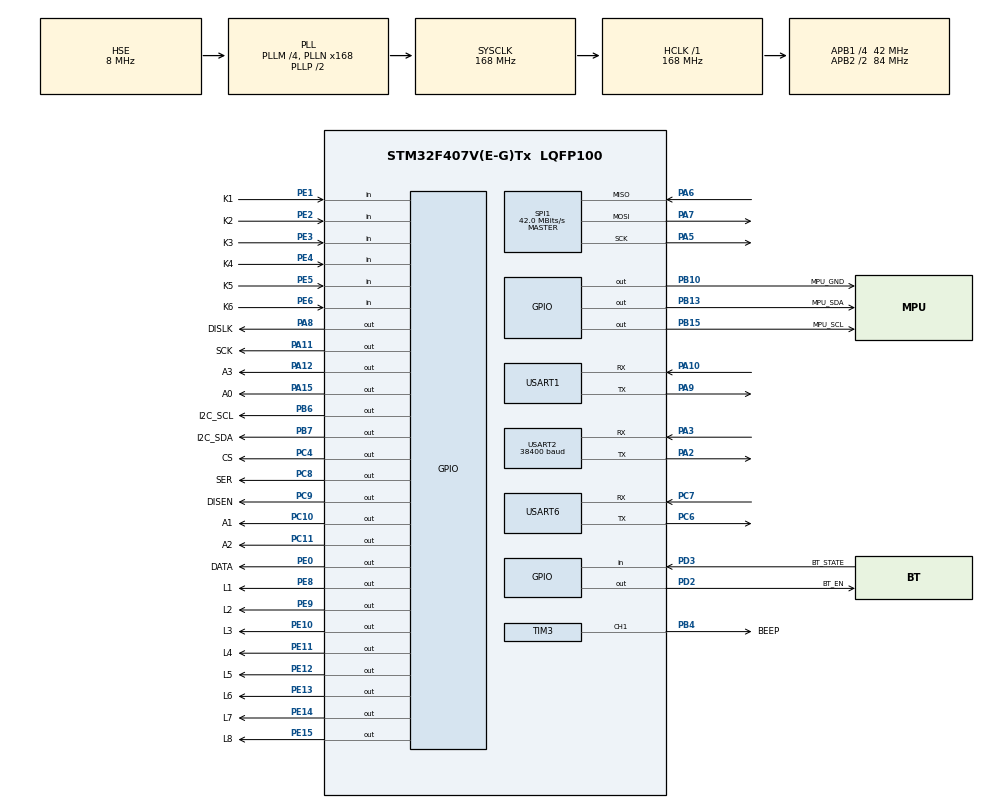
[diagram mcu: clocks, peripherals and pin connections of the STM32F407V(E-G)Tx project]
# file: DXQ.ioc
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Dma.Request0=USART2_RX
Dma.Request1=USART6_RX
Dma.Request2=USART1_RX
Dma.USART1_RX.2.Direction=DMA_PERIPH_TO_MEMORY
Dma.USART1_RX.2.FIFOMode=DMA_FIFOMODE_DISABLE
Dma.USART1_RX.2.Instance=DMA2_Stream2
Dma.USART1_RX.2.MemDataAlignment=DMA_MDATAALIGN_BYTE
Dma.USART1_RX.2.MemInc=DMA_MINC_ENABLE
Dma.USART1_RX.2.Mode=DMA_NORMAL
Dma.USART1_RX.2.PeriphDataAlignment=DMA_PDATAALIGN_BYTE
Dma.USART1_RX.2.PeriphInc=DMA_PINC_DISABLE
Dma.USART1_RX.2.Priority=DMA_PRIORITY_LOW
Dma.USART2_RX.0.Direction=DMA_PERIPH_TO_MEMORY
Dma.USART2_RX.0.FIFOMode=DMA_FIFOMODE_DISABLE
Dma.USART2_RX.0.Instance=DMA1_Stream5
Dma.USART2_RX.0.MemDataAlignment=DMA_MDATAALIGN_BYTE
Dma.USART2_RX.0.MemInc=DMA_MINC_ENABLE
Dma.USART2_RX.0.Mode=DMA_NORMAL
Dma.USART2_RX.0.PeriphDataAlignment=DMA_PDATAALIGN_BYTE
Dma.USART2_RX.0.PeriphInc=DMA_PINC_DISABLE
Dma.USART2_RX.0.Priority=DMA_PRIORITY_LOW
Dma.USART6_RX.1.Direction=DMA_PERIPH_TO_MEMORY
Dma.USART6_RX.1.FIFOMode=DMA_FIFOMODE_DISABLE
Dma.USART6_RX.1.Instance=DMA2_Stream1
Dma.USART6_RX.1.MemDataAlignment=DMA_MDATAALIGN_BYTE
Dma.USART6_RX.1.MemInc=DMA_MINC_ENABLE
Dma.USART6_RX.1.Mode=DMA_NORMAL
Dma.USART6_RX.1.PeriphDataAlignment=DMA_PDATAALIGN_BYTE
Dma.USART6_RX.1.PeriphInc=DMA_PINC_DISABLE
Dma.USART6_RX.1.Priority=DMA_PRIORITY_LOW
FREERTOS.Tasks01=MainTask,24,512,StartMainTask,Default,NULL,Dynamic,NULL,NULL;KeyTask,24,512,StartKeyTask,Default,NULL,Dynamic,NULL,NULL;UartTask,24,1024,StartUartTask,Default,NULL,Dynamic,NULL,NULL;GUITask,24,1024,StartGUITask,Default,NULL,Dynamic,NULL,NULL;DataTask,24,1024,StartDataTask,Default,NULL,Dynamic,NULL,NULL
FREERTOS.configTOTAL_HEAP_SIZE=30000
Mcu.Family=STM32F4
Mcu.Name=STM32F407V(E-G)Tx
Mcu.Package=LQFP100
NVIC.DMA1_Stream5_IRQn=true\:5\:0\:false\:false\:true\:true\:false\:true
NVIC.DMA2_Stream1_IRQn=true\:5\:0\:false\:false\:true\:true\:false\:true
NVIC.DMA2_Stream2_IRQn=true\:5\:0\:false\:false\:true\:true\:false\:true
NVIC.PriorityGroup=NVIC_PRIORITYGROUP_4
NVIC.TIM7_IRQn=true\:0\:0\:false\:false\:true\:false\:false\:true
NVIC.TimeBase=TIM7_IRQn
NVIC.TimeBaseIP=TIM7
NVIC.USART1_IRQn=true\:5\:0\:false\:false\:true\:false\:true\:true
NVIC.USART2_IRQn=true\:5\:0\:false\:false\:true\:true\:true\:true
NVIC.USART6_IRQn=true\:5\:0\:false\:false\:true\:true\:true\:true
PA10.Mode=Asynchronous
PA10.Signal=USART1_RX
PA11.GPIO_Label=SCK
PA11.Signal=GPIO_Output
PA12.GPIO_Label=A3
PA12.Signal=GPIO_Output
PA13.Mode=Serial_Wire
PA13.Signal=SYS_JTMS-SWDIO
PA14.Mode=Serial_Wire
PA14.Signal=SYS_JTCK-SWCLK
PA15.GPIO_Label=A0
PA15.Signal=GPIO_Output
PA2.Mode=Asynchronous
PA2.Signal=USART2_TX
PA3.Mode=Asynchronous
PA3.Signal=USART2_RX
PA5.Mode=Full_Duplex_Master
PA5.Signal=SPI1_SCK
PA6.Mode=Full_Duplex_Master
PA6.Signal=SPI1_MISO
PA7.Mode=Full_Duplex_Master
PA7.Signal=SPI1_MOSI
PA8.GPIO_Label=DISLK
PA8.Signal=GPIO_Output
PA9.Mode=Asynchronous
PA9.Signal=USART1_TX
PB10.GPIO_Label=MPU_GND
PB10.Signal=GPIO_Output
PB13.GPIO_Label=MPU_SDA
PB13.GPIO_ModeDefaultOutputPP=GPIO_MODE_OUTPUT_OD
PB13.Signal=GPIO_Output
PB15.GPIO_Label=MPU_SCL
PB15.GPIO_ModeDefaultOutputPP=GPIO_MODE_OUTPUT_OD
PB15.Signal=GPIO_Output
PB4.GPIO_Label=BEEP
PB4.Signal=S_TIM3_CH1
PB6.GPIO_Label=I2C_SCL
PB6.GPIO_ModeDefaultOutputPP=GPIO_MODE_OUTPUT_OD
PB6.Signal=GPIO_Output
PB7.GPIO_Label=I2C_SDA
PB7.GPIO_ModeDefaultOutputPP=GPIO_MODE_OUTPUT_OD
PB7.Signal=GPIO_Output
PC10.GPIO_Label=A1
PC10.Signal=GPIO_Output
PC11.GPIO_Label=A2
PC11.Signal=GPIO_Output
PC4.GPIO_Label=CS
PC4.Signal=GPIO_Output
PC6.Mode=Asynchronous
PC6.Signal=USART6_TX
PC7.Mode=Asynchronous
PC7.Signal=USART6_RX
PC8.GPIO_Label=SER
PC8.Signal=GPIO_Output
PC9.GPIO_Label=DISEN
PC9.Signal=GPIO_Output
PD2.GPIO_Label=BT_EN
PD2.Signal=GPIO_Output
PD3.GPIO_Label=BT_STATE
PD3.Signal=GPIO_Input
PE0.GPIO_Label=DATA
PE0.Signal=GPIO_Output
PE1.GPIO_Label=K1
PE1.GPIO_Mode=GPIO_MODE_INPUT
PE1.GPIO_PuPd=GPIO_PULLUP
PE1.Signal=GPIO_Input
PE10.GPIO_Label=L3
PE10.GPIO_ModeDefaultOutputPP=GPIO_MODE_OUTPUT_PP
PE10.PinState=GPIO_PIN_SET
PE10.Signal=GPIO_Output
PE11.GPIO_Label=L4
PE11.GPIO_ModeDefaultOutputPP=GPIO_MODE_OUTPUT_PP
PE11.PinState=GPIO_PIN_SET
PE11.Signal=GPIO_Output
PE12.GPIO_Label=L5
PE12.GPIO_ModeDefaultOutputPP=GPIO_MODE_OUTPUT_PP
PE12.PinState=GPIO_PIN_SET
PE12.Signal=GPIO_Output
PE13.GPIO_Label=L6
PE13.GPIO_ModeDefaultOutputPP=GPIO_MODE_OUTPUT_PP
PE13.PinState=GPIO_PIN_SET
PE13.Signal=GPIO_Output
PE14.GPIO_Label=L7
PE14.GPIO_ModeDefaultOutputPP=GPIO_MODE_OUTPUT_PP
PE14.PinState=GPIO_PIN_SET
PE14.Signal=GPIO_Output
PE15.GPIO_Label=L8
PE15.GPIO_ModeDefaultOutputPP=GPIO_MODE_OUTPUT_PP
PE15.PinState=GPIO_PIN_SET
PE15.Signal=GPIO_Output
PE2.GPIO_Label=K2
PE2.GPIO_Mode=GPIO_MODE_INPUT
PE2.GPIO_PuPd=GPIO_PULLUP
PE2.Signal=GPIO_Input
PE3.GPIO_Label=K3
PE3.GPIO_Mode=GPIO_MODE_INPUT
PE3.GPIO_PuPd=GPIO_PULLUP
PE3.Signal=GPIO_Input
PE4.GPIO_Label=K4
PE4.GPIO_Mode=GPIO_MODE_INPUT
PE4.GPIO_PuPd=GPIO_PULLUP
PE4.Signal=GPIO_Input
PE5.GPIO_Label=K5
PE5.GPIO_Mode=GPIO_MODE_INPUT
PE5.GPIO_PuPd=GPIO_PULLDOWN
PE5.Signal=GPIO_Input
PE6.GPIO_Label=K6
PE6.GPIO_Mode=GPIO_MODE_INPUT
PE6.GPIO_PuPd=GPIO_PULLDOWN
PE6.Signal=GPIO_Input
PE8.GPIO_Label=L1
PE8.GPIO_ModeDefaultOutputPP=GPIO_MODE_OUTPUT_PP
PE8.PinState=GPIO_PIN_SET
PE8.Signal=GPIO_Output
PE9.GPIO_Label=L2
PE9.GPIO_ModeDefaultOutputPP=GPIO_MODE_OUTPUT_PP
PE9.PinState=GPIO_PIN_SET
PE9.Signal=GPIO_Output
PH0-OSC_IN.Mode=HSE-External-Oscillator
PH0-OSC_IN.Signal=RCC_OSC_IN
PH1-OSC_OUT.Mode=HSE-External-Oscillator
PH1-OSC_OUT.Signal=RCC_OSC_OUT
ProjectManager.HeapSize=0x4000
ProjectManager.StackSize=0x4000
ProjectManager.TargetToolchain=MDK-ARM V5.27
RCC.48MHZClocksFreq_Value=84000000
RCC.AHBFreq_Value=168000000
RCC.APB1CLKDivider=RCC_HCLK_DIV4
RCC.APB1Freq_Value=42000000
RCC.APB1TimFreq_Value=84000000
RCC.APB2CLKDivider=RCC_HCLK_DIV2
RCC.APB2Freq_Value=84000000
RCC.APB2TimFreq_Value=168000000
RCC.CortexFreq_Value=168000000
RCC.HCLKFreq_Value=168000000
RCC.HSE_VALUE=8000000
RCC.HSI_VALUE=16000000
RCC.LSE_VALUE=32768
RCC.PLLM=4
RCC.PLLN=168
RCC.PLLSourceVirtual=RCC_PLLSOURCE_HSE
RCC.SYSCLKFreq_VALUE=168000000
RCC.SYSCLKSource=RCC_SYSCLKSOURCE_PLLCLK
RCC.VCOOutputFreq_Value=336000000
SH.S_TIM3_CH1.0=TIM3_CH1,PWM Generation1 CH1
SPI1.CalculateBaudRate=42.0 MBits/s
SPI1.Direction=SPI_DIRECTION_2LINES
SPI1.Mode=SPI_MODE_MASTER
SPI1.VirtualType=VM_MASTER
TIM3.Channel-PWM\ Generation1\ CH1=TIM_CHANNEL_1
TIM3.Period=1000-1
TIM3.Prescaler=84-1
TIM3.Pulse-PWM\ Generation1\ CH1=500
USART1.VirtualMode=VM_ASYNC
USART2.BaudRate=38400
USART2.VirtualMode=VM_ASYNC
USART6.VirtualMode=VM_ASYNC
VP_FREERTOS_VS_CMSIS_V2.Mode=CMSIS_V2
VP_SYS_VS_tim7.Mode=TIM7
VP_TIM3_VS_ClockSourceINT.Mode=Internal
board=custom

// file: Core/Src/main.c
/* USER CODE BEGIN Header */
/**
  ******************************************************************************
  * @file           : main.c
  * @brief          : Main program body
  ******************************************************************************
  * @attention
  *
  * <h2><center>&copy; Copyright (c) 2021 STMicroelectronics.
  * All rights reserved.</center></h2>
  *
  * This software component is licensed by ST under Ultimate Liberty license
  * SLA0044, the "License"; You may not use this file except in compliance with
  * the License. You may obtain a copy of the License at:
  *                             www.st.com/SLA0044
  *
  ******************************************************************************
  */
/* USER CODE END Header */
#include "main.h"
#include "cmsis_os.h"
#include "dma.h"
#include "spi.h"
#include "tim.h"
#include "usart.h"
#include "gpio.h"

void SystemClock_Config(void);
void MX_FREERTOS_Init(void);

int main(void)
{

  /* MCU Configuration--------------------------------------------------------*/

  /* Reset of all peripherals, Initializes the Flash interface and the Systick. */
  HAL_Init();

  /* Configure the system clock */
  SystemClock_Config();

  /* Initialize all configured peripherals */
  MX_GPIO_Init();
  MX_DMA_Init();
  MX_USART1_UART_Init();
  MX_TIM3_Init();
  MX_USART2_UART_Init();
  MX_USART6_UART_Init();
  MX_SPI1_Init();

  /* Init scheduler */
  osKernelInitialize();  /* Call init function for freertos objects (in freertos.c) */
  MX_FREERTOS_Init();
  /* Start scheduler */
  osKernelStart();

  /* We should never get here as control is now taken by the scheduler */
  /* Infinite loop */
  while (1)
  {

  }
}

void SystemClock_Config(void)
{
  RCC_OscInitTypeDef RCC_OscInitStruct = {0};
  RCC_ClkInitTypeDef RCC_ClkInitStruct = {0};

  /** Configure the main internal regulator output voltage
  */
  __HAL_RCC_PWR_CLK_ENABLE();
  __HAL_PWR_VOLTAGESCALING_CONFIG(PWR_REGULATOR_VOLTAGE_SCALE1);
  /** Initializes the RCC Oscillators according to the specified parameters
  * in the RCC_OscInitTypeDef structure.
  */
  RCC_OscInitStruct.OscillatorType = RCC_OSCILLATORTYPE_HSE;
  RCC_OscInitStruct.HSEState = RCC_HSE_ON;
  RCC_OscInitStruct.PLL.PLLState = RCC_PLL_ON;
  RCC_OscInitStruct.PLL.PLLSource = RCC_PLLSOURCE_HSE;
  RCC_OscInitStruct.PLL.PLLM = 4;
  RCC_OscInitStruct.PLL.PLLN = 168;
  RCC_OscInitStruct.PLL.PLLP = RCC_PLLP_DIV2;
  RCC_OscInitStruct.PLL.PLLQ = 4;
  if (HAL_RCC_OscConfig(&RCC_OscInitStruct) != HAL_OK)
  {
    Error_Handler();
  }
  /** Initializes the CPU, AHB and APB buses clocks
  */
  RCC_ClkInitStruct.ClockType = RCC_CLOCKTYPE_HCLK|RCC_CLOCKTYPE_SYSCLK
                              |RCC_CLOCKTYPE_PCLK1|RCC_CLOCKTYPE_PCLK2;
  RCC_ClkInitStruct.SYSCLKSource = RCC_SYSCLKSOURCE_PLLCLK;
  RCC_ClkInitStruct.AHBCLKDivider = RCC_SYSCLK_DIV1;
  RCC_ClkInitStruct.APB1CLKDivider = RCC_HCLK_DIV4;
  RCC_ClkInitStruct.APB2CLKDivider = RCC_HCLK_DIV2;

  if (HAL_RCC_ClockConfig(&RCC_ClkInitStruct, FLASH_LATENCY_5) != HAL_OK)
  {
    Error_Handler();
  }
}

 /**
  * @brief  Period elapsed callback in non blocking mode
  * @note   This function is called  when TIM7 interrupt took place, inside
  * HAL_TIM_IRQHandler(). It makes a direct call to HAL_IncTick() to increment
  * a global variable "uwTick" used as application time base.
  * @param  htim : TIM handle
  * @retval None
  */
void HAL_TIM_PeriodElapsedCallback(TIM_HandleTypeDef *htim)
{
  if (htim->Instance == TIM7) {
    HAL_IncTick();
  }
}

void Error_Handler(void)
{
}

/************************ (C) COPYRIGHT STMicroelectronics *****END OF FILE****/

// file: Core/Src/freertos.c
/* USER CODE BEGIN Header */
/**
  ******************************************************************************
  * File Name          : freertos.c
  * Description        : Code for freertos applications
  ******************************************************************************
  * @attention
  *
  * <h2><center>&copy; Copyright (c) 2021 STMicroelectronics.
  * All rights reserved.</center></h2>
  *
  * This software component is licensed by ST under Ultimate Liberty license
  * SLA0044, the "License"; You may not use this file except in compliance with
  * the License. You may obtain a copy of the License at:
  *                             www.st.com/SLA0044
  *
  ******************************************************************************
  */
/* USER CODE END Header */

#include "FreeRTOS.h"
#include "task.h"
#include "main.h"
#include "cmsis_os.h"

/* USER CODE BEGIN Includes */
#include "gpio.h"
#include "GUI.h"
#include "tim.h"
#include "DS_18B20.h"
#include "MPU6050.h"
#include "Display_3D.h"
#include "comm.h"
#include "ESP01.h"
#include <stdio.h>
#include <string.h>
#include <stdlib.h>
#include "w25qxx.h"
/* USER CODE END Includes */

/* USER CODE BEGIN PD */
extern GUI_FLASH const GUI_FONT GUI_FontHZ_KaiTi_20;//外部声明
extern GUI_FLASH const GUI_FONT GUI_FontHZ_KaiTi_12;
extern GUI_FLASH const GUI_FONT GUI_FontHZ_KaiTi_16;
extern GUI_FLASH const GUI_FONT GUI_FontHZ_SimSun_12;
extern GUI_CONST_STORAGE GUI_BITMAP bmfcz;
extern GUI_CONST_STORAGE GUI_BITMAP bmlch;
/* USER CODE END PD */

/* USER CODE BEGIN Variables */
#define WS_LOGO 0
#define WS_GUI1 1
#define WS_GUI2 2
#define WS_GUI3 3
#define WS_GUI4 4   // 定义五个页面

#define SetADDR1 10 * 4096
#define SetADDR2 9 * 4096
#define SetADDR3 8 * 4096
#define SetADDR4 7 * 4096

int g_ws = WS_LOGO;
uint32_t intick = 0;

volatile float temp = 0; //温度值
float tempLmt = 32.0f;   //温度上限

uint32_t beeptick = 0;

uint8_t tempwarn = 0;//温度报警
uint8_t mpuwarn = 0;//震动报警
uint32_t warntick = 0;//报警时间戳
uint8_t warnright = 0;//报警状态
uint8_t g_mpustep = 0; //震动监测灵敏度
uint8_t g_warntime = 30;//报警时长
uint8_t g_paridx = 0; //参数索引

uint32_t keytime = 0;
uint8_t pageidx = 0;//界面内页面切换

uint16_t g_upstep = 1000; //上传时间间隔
uint8_t g_bUping = 0;

uint32_t scantime= 50;//扫描时间间隔

#define MAX_DATA_LEN 77
uint8_t g_fax_data[MAX_DATA_LEN];
uint8_t g_fay_data[MAX_DATA_LEN];
uint8_t g_faz_data[MAX_DATA_LEN];
uint8_t g_temp_data[MAX_DATA_LEN];

#define LINE_FAX 0
#define LINE_FAY 1
#define LINE_FAZ 2
#define LINE_TEMP 3
#define LINE_3D 4
uint8_t g_line_idx = LINE_FAX;

float vTemp[80];
int cTemp = 0;
float vPitch[80];
int cPitch = 0;
float vRoll[80];
int cRoll = 0;
float vYaw[80];
int cYaw = 0;

/* USER CODE END Variables */
/* Definitions for MainTask */
osThreadId_t MainTaskHandle;
const osThreadAttr_t MainTask_attributes = {
  .name = "MainTask",
  .stack_size = 512 * 4,
  .priority = (osPriority_t) osPriorityNormal,
};
/* Definitions for KeyTask */
osThreadId_t KeyTaskHandle;
const osThreadAttr_t KeyTask_attributes = {
  .name = "KeyTask",
  .stack_size = 512 * 4,
  .priority = (osPriority_t) osPriorityNormal,
};
/* Definitions for UartTask */
osThreadId_t UartTaskHandle;
const osThreadAttr_t UartTask_attributes = {
  .name = "UartTask",
  .stack_size = 1024 * 4,
  .priority = (osPriority_t) osPriorityNormal,
};
/* Definitions for GUITask */
osThreadId_t GUITaskHandle;
const osThreadAttr_t GUITask_attributes = {
  .name = "GUITask",
  .stack_size = 1024 * 4,
  .priority = (osPriority_t) osPriorityNormal,
};
/* Definitions for DataTask */
osThreadId_t DataTaskHandle;
const osThreadAttr_t DataTask_attributes = {
  .name = "DataTask",
  .stack_size = 1024 * 4,
  .priority = (osPriority_t) osPriorityNormal,
};

/* USER CODE BEGIN FunctionPrototypes */

void WSLogo(void);
void DrawLogo(void);
void DrawGUI1(void);
void DrawGUI2(void);
void DrawGUI3(void);
void DrawGUI4(void);

void Beep(int time,int tune);
void DispSeg(uint8_t num[4],uint8_t dot);
void BeepDone(void);
int KeyWatch(void);
void InitESP8266(void);

void SaveTempLmt(uint32_t addr,float saveval);
void SaveMpuStep(uint32_t addr,uint8_t saveval);
void SaveWarnTime(uint32_t addr,uint8_t saveval);
void SaveUpStep(uint32_t addr,uint16_t saveval);
float LoadTempLmt(uint32_t addr);
uint8_t LoadMpuStep(uint32_t addr);
uint8_t LoadWarnTime(uint32_t addr);
uint16_t LoadUpStep(uint32_t addr);

/* USER CODE END FunctionPrototypes */

void StartMainTask(void *argument);
void StartKeyTask(void *argument);
void StartUartTask(void *argument);
void StartGUITask(void *argument);
void StartDataTask(void *argument);

void MX_FREERTOS_Init(void); /* (MISRA C 2004 rule 8.1) */

void MX_FREERTOS_Init(void) {

  /* Create the thread(s) */
  /* creation of MainTask */
  MainTaskHandle = osThreadNew(StartMainTask, NULL, &MainTask_attributes);

  /* creation of KeyTask */
  KeyTaskHandle = osThreadNew(StartKeyTask, NULL, &KeyTask_attributes);

  /* creation of UartTask */
  UartTaskHandle = osThreadNew(StartUartTask, NULL, &UartTask_attributes);

  /* creation of GUITask */
  GUITaskHandle = osThreadNew(StartGUITask, NULL, &GUITask_attributes);

  /* creation of DataTask */
  DataTaskHandle = osThreadNew(StartDataTask, NULL, &DataTask_attributes);

}

void StartMainTask(void *argument)
{
  /* USER CODE BEGIN StartMainTask */
	uint8_t num[4] = {0};//数码管的四个数字
	W25QXX_Init();
	float val1 = LoadTempLmt(SetADDR1);
	uint8_t val2 = LoadMpuStep(SetADDR2);
	uint8_t val3 = LoadWarnTime(SetADDR3);
	uint16_t val4 = LoadUpStep(SetADDR4);
	if(val1 >= 0 && val1 <= 99)
		tempLmt = val1;
	if(val2 >= 0 && val2 <= 9)
		g_mpustep = val2;
	if(val3 >= 0 && val3 <= 60)
		g_warntime = val3;
	if(val4 >= 100 && val4 <= 10000)
		g_upstep = val4;
  /* Infinite loop */
  for(;;)
  {
		switch(g_ws)
		{
			case WS_LOGO:
				WSLogo();
			  break;
			default:
				SetLeds(0);
				break;
		}

		//报警功能
		if((tempwarn || mpuwarn) && g_warntime > 0)
		{
			warnright = 1;    //报警状态设1
			if(0 == warntick)     //计时开始
				warntick = osKernelGetTickCount();
			else if(osKernelGetTickCount() >= warntick + 1000 * g_warntime)     //30s后停止清零
			{
				tempwarn = mpuwarn = 0;
				warntick = 0;
				warnright = 0;
			}
			else         //报警动作
			{
				uint32_t tic = warntick + 1000 * g_warntime - osKernelGetTickCount();
				num[0] = (tic/10000)%10;
				num[1] = (tic/1000)%10;
				num[2] = (tic/100)%10;
				num[3] = (tic/10)%10;

        if(KeyWatch())   				//监测4个按键同时按下
			  {
				  if(0 == keytime)
						keytime = osKernelGetTickCount();
				  else if(osKernelGetTickCount() >= keytime + 3000)
				  {
						tempwarn = mpuwarn = 0;
				    warntick = 0;
				    warnright = 0;
			      num[0] = num[1] = num[2] = num[3] = ' ';
            keytime = 0;
            tempLmt = 40;
            g_mpustep = 0;
				  }
			  }
				//温度报警时
				if(tempwarn == 1)
				{
					  Beep(100,num[2]);
			  }
				//震动报警时
				else if(mpuwarn == 1)
				{
					Beep(100,num[3]%5);
				}
			}
		}
		else
			num[0] = num[1] = num[2] = num[3] = ' ';

		//num[0]=num[1]=num[2]=num[3]=1;//11.11
		DispSeg(num,2);//小数位两位
		BeepDone();

    osDelay(1);
  }
  /* USER CODE END StartMainTask */
}

void StartKeyTask(void *argument)
{
  /* USER CODE BEGIN StartKeyTask */
  /* Infinite loop */
  for(;;)
  {
		uint8_t key = ScanKey();
		if(key > 0)
			printf("%02x\n",key);

		switch(g_ws)
		{
			case WS_LOGO:
				if(KEY5 == key)
				{
					g_ws = WS_GUI1;
					intick = 0;
				}
				break;
			case WS_GUI1:
				if(!warnright)
				{
				if(KEY1 == key)
					g_ws = WS_GUI4;
				else if(KEY4 == key)
					g_ws = WS_GUI2;
				else if(KEY2 == key)
				{
					if(pageidx > 0)
						--pageidx;
				}
				else if(KEY3 == key)
				{
					if(pageidx < 2)
						++pageidx;
				}
				else if(KEY6 == key)
					  g_ws = WS_LOGO;
			  }
				break;
			case WS_GUI2:
				if(!warnright)
				{
					if(KEY1 == key)
						g_ws = WS_GUI1;
					else if(KEY4 == key)
					{
						g_ws = WS_GUI3;
						InitESP8266();
					}
					else if(KEY2 == key)
					{
						if(g_line_idx > LINE_FAX)
							--g_line_idx;
					}
					else if(KEY3 == key)
					{
						if(g_line_idx < LINE_3D)
							++g_line_idx;
					}
					else if(KEY5==key)
							{
								if(scantime==1000)
									scantime=50;
								else
									scantime=1000;
							}
					 else if(KEY6 == key)
						g_ws = WS_LOGO;
					break;
			 }
			case WS_GUI3:
				if(!warnright)
				{
					if(KEY1 == key)
						g_ws = WS_GUI2;
					else if(KEY2 == key)
						g_bUping = 1;
					else if(KEY3 == key)
					{
						g_bUping = 0;
					}
					else if(KEY4 == key)
						g_ws = WS_GUI4;
					else if(KEY5 == key && 0 == pageidx)
					{
						if(0 == pageidx)
						{
							InitESP8266();
						}
					}
					else if(KEY6 == key)
						g_ws = WS_LOGO;
					break;
			  }
			case WS_GUI4:
				if(!warnright)
				{
					if(KEY1 == key)
					{
						g_ws = WS_GUI3;
						InitESP8266();
					}
					else if(KEY4 == key)
						g_ws = WS_GUI1;
					else if(KEY6 == key)
						g_ws = WS_LOGO;
					else if(KEY5 == key)
					{
						++g_paridx;
						g_paridx %= 4;
					}
					else if(KEY2 == key)
					{
						if(0 == g_paridx)
						{
							if(tempLmt > 0)
							{
								tempLmt -= 1;
								SaveTempLmt(SetADDR1,tempLmt);
							}
						}
						if(1 == g_paridx)
						{
							if(g_mpustep > 0)
							{
								--g_mpustep;
								SaveMpuStep(SetADDR2,g_mpustep);
							}
						}
						if(2 == g_paridx)
						{
							if(g_warntime > 0)
							{
								--g_warntime;
								SaveWarnTime(SetADDR3,g_warntime);
							}
						}
						if(3 == g_paridx)
						{
							if(g_upstep > 100)
							{
								g_upstep -= 100;
								SaveUpStep(SetADDR4,g_upstep);
							}
						}
					}
					else if(KEY3 == key)
					{
						if(0 == g_paridx)
						{
							if(tempLmt < 90)
							{
								tempLmt += 1;
								SaveTempLmt(SetADDR1,tempLmt);
							}
						}
						if(1 == g_paridx)
						{
							if(g_mpustep < 9)
							{
								++g_mpustep;
								SaveMpuStep(SetADDR2,g_mpustep);
							}
						}
						if(2 == g_paridx)
						{
							if(g_warntime < 60)
							{
								++g_warntime;
								SaveWarnTime(SetADDR3,g_warntime);
							}
						}
						if(3 == g_paridx)
						{
							if(g_upstep < 10000)
							{
								g_upstep += 100;
								SaveUpStep(SetADDR4,g_upstep);
							}
						}
					}
					break;
				default:
					if(KEY6 == key)
						g_ws = WS_LOGO;
					break;
			}
		}
    osDelay(1);
  }
  /* USER CODE END StartKeyTask */
}

void StartUartTask(void *argument)
{
  /* USER CODE BEGIN StartUartTask */
	StartRecvUart1();
	ESP_Init();

  /* Infinite loop */
  for(;;)
  {
		if(recv1_len>0)
		{
			printf("%s",recv1_buff);
			recv1_len = 0;
		}

		ESP_Proc();
		if(esp8266.recv_len>0)
		{
			printf("%s",esp8266.recv_data);

			char *pb = (char *)(esp8266.recv_data);
			char buf[40];
			if('Q' == pb[0] && 'P' == pb[1] && 'A' == pb[2] && 'R' == pb[3])
			{
				//查询参数，应答
				sprintf(buf,"P1:%.0f,P2:%d,P3:%d,P4:%d\n",tempLmt,g_mpustep,g_warntime,g_upstep);
				USendStr(&huart6,(uint8_t*)buf,strlen(buf));
			}
			else if('P' == pb[0] && '1' == pb[1] && ':' == pb[2])
			{
				//参数设置
				tempLmt = atof(pb + 3);
				pb = strstr(pb,"P2:");
				if(pb)
				{
					g_mpustep = atoi(pb + 3);
					pb = strstr(pb,"P3:");
					if(pb)
					{
						g_warntime = atoi(pb + 3);
						pb = strstr(pb,"P4:");
					  if(pb)
					  {
							g_upstep = atoi(pb + 3);
							SaveTempLmt(SetADDR1,tempLmt);
							SaveMpuStep(SetADDR2,g_mpustep);
							SaveWarnTime(SetADDR3,g_warntime);
							SaveUpStep(SetADDR4,g_upstep);
							USendStr(&huart6,(uint8_t *)("PARA SET OK\n"),12);
						}
					}
				}
			}
			else if('O' == pb[0] && 'P' == pb[1] && 'E' == pb[2] && 'N' == pb[3])
			{
				//打开数据上传
				g_bUping = 1;
				USendStr(&huart6,(uint8_t *)("UP OPEN OK\n"),12);
			}
			else if('C' == pb[0] && 'L' == pb[1] && 'O' == pb[2] && 'S' == pb[3] && 'E' == pb[4])
			{
				//关闭数据上传
				g_bUping = 0;
				USendStr(&huart6,(uint8_t *)("UP CLOSE OK\n"),12);
			}
			esp8266.recv_len = 0;
		}
    osDelay(1);
  }
  /* USER CODE END StartUartTask */
}

void StartGUITask(void *argument)
{
  /* USER CODE BEGIN StartGUITask */
	GUI_Init();//初始化
  /* Infinite loop */
  for(;;)
  {
		switch(g_ws)
		{
			case WS_LOGO:  DrawLogo();  break;
			case WS_GUI1:  DrawGUI1();  break;
			case WS_GUI2:  DrawGUI2();  break;
			case WS_GUI3:  DrawGUI3();  break;
			case WS_GUI4:  DrawGUI4();  break;
			default:
				break;
		}
		osDelay(100);
  }
  /* USER CODE END StartGUITask */
}

void StartDataTask(void *argument)
{
  /* USER CODE BEGIN StartDataTask */
	osDelay(1000);

	ds18b20_init();

	uint8_t mpuok = MPU_init();//初始化
	uint8_t idx = 0;
	uint8_t idy = 0;

	uint8_t cnt = 0;
	while(cnt++ <3 && !mpuok)//循环三次,不成功再次编译
	{
		osDelay(500);
		mpuok = MPU_init();
	}

	uint32_t dstick = 0;
	uint32_t mputick = 0;
	uint32_t uptick = 0;

	int warncnt = 0;//检测震动次数
	int tempcnt = 0;//检测温度超标次数
	float ft = 0;
	uint32_t newdstick=0;

  /* Infinite loop */
  for(;;)
  {

			if(osKernelGetTickCount()>=dstick+500)
		  {
			  dstick=osKernelGetTickCount();
			  ft = ds18b20_read();
		  }
			if(ft < 125)
			{
				temp = ft;
				if(osKernelGetTickCount()>=newdstick+scantime)
			  {

				  newdstick=osKernelGetTickCount();
				  g_temp_data[idy] = (35-temp) * 40 / 10 + 12;
				  ++ idy;

				  if(idy >= MAX_DATA_LEN)
				  {
					  memcpy(g_temp_data,g_temp_data + 1,MAX_DATA_LEN - 1);
					  idy = MAX_DATA_LEN - 1;
				  }

				  if(temp >= tempLmt)       //温度超限
				  {
						printf("temp:%.1f\r\n",temp);
					  if(++tempcnt >= 10)
					  tempwarn = 1;
				   }
				  else
					  tempcnt = 0;
				}
			}

		if(mpuok)
		{
			if(osKernelGetTickCount()>= mputick + 50)
		  {

				MPU_getdata();//数据类型见mpu.c
			}
		  if(osKernelGetTickCount()>=mputick+scantime)
			{
				dstick = osKernelGetTickCount();
				mputick=osKernelGetTickCount();
				g_fax_data[idx] = 32 - fAX * 20 / 90;
				g_fay_data[idx] = 32 - fAY * 20 / 180;
				g_faz_data[idx] = 32 - fAZ * 20 / 180;
				++ idx;
				if(idx >= MAX_DATA_LEN)
				{
					memcpy(g_fax_data,g_fax_data + 1,MAX_DATA_LEN - 1);
					memcpy(g_fay_data,g_fay_data + 1,MAX_DATA_LEN - 1);
					memcpy(g_faz_data,g_faz_data + 1,MAX_DATA_LEN - 1);

					idx = MAX_DATA_LEN - 1;
				}

				if((gx*gx + gy*gy + gz*gz > 2000 * (10 - g_mpustep)) && g_mpustep > 0)
				{
					warncnt ++;
					if(warncnt >= 0.25 * (100 - g_mpustep * g_mpustep))
					{
						mpuwarn = 1;
						printf("axyz:%6d %6d %6d,gxyz:%6d %6d %6d\n",ax,ay,az,gx,gy,gz);
					}
				}
				else
					warncnt = 0;
			}
		}

    if(g_bUping && esp8266.bconn)
		{
			if(osKernelGetTickCount() >= uptick + g_upstep)
			{
				uptick = osKernelGetTickCount();

				char buf[100];
				sprintf(buf,"T:%4.1f, A:%6d %6d %6d,G:%6d %6d %6d, F:%5.1f %5.1f %5.1f, W:%d\n",
				temp,ax,ay,az,gx,gy,gz,fAX,fAY,fAZ,(tempwarn ? 1 : 0) + (mpuwarn ? 2 : 0));
				USendStr(&huart6,(uint8_t*)buf,strlen(buf));
			}
		}
		osDelay(1);
  }

  /* USER CODE END StartDataTask */
}

/* USER CODE BEGIN Application */
void WSLogo(void)//LOGO界面动作
{
	//intick:声明静态变量,时间戳osKernelGetTickCount为当前时刻
	static uint32_t tick = 0;
	static uint8_t leds_sta = 0x00;
	if(0 == intick)
		intick = osKernelGetTickCount();
	else
	{
		if(osKernelGetTickCount() >= intick+5000)//延时5s进入gui1
		{
			intick = 0;
			g_ws = WS_GUI1;
			Beep(500,3);
		}
	}
	SetLeds(leds_sta);  //点灯
	if(osKernelGetTickCount() >= tick + 500)
	{
		leds_sta = ~leds_sta; //每500ms取反
		tick = osKernelGetTickCount();
	}
}

void DrawLogo(void)//LOGO界面
{
	GUI_Clear();
	static uint32_t tick = 0;
	if(0 == intick)
		intick = osKernelGetTickCount();
	else
	{
		if(osKernelGetTickCount() <= intick+2000)
		{
	    GUI_SetFont(&GUI_FontHZ_KaiTi_20);
	    GUI_DispStringHCenterAt("防火、防盗远\n程监测器设计",64,12);
	    GUI_Update();//刷新
		}
		else if(osKernelGetTickCount() <= intick+4000)
		{
			GUI_Clear();
	    GUI_SetFont(&GUI_FontHZ_KaiTi_16);
	    GUI_DispStringAt("成员1：李承翰\n       18041817\n成员2：冯粲之 \n       18041812",0,0);
      GUI_Update();
		}
		else if(osKernelGetTickCount() <= intick+5000)
		{
			GUI_Clear();
	    GUI_DrawBitmap(&bmlch,0,0);
			GUI_DrawBitmap(&bmfcz,64,0);
	    GUI_Update();
		}
		else
			intick = 0;
	}

}

void DrawGUI1(void) //实时监测界面
{
	GUI_Clear();
	GUI_SetFont(&GUI_FontHZ_SimSun_12);
	GUI_SetColor(GUI_COLOR_BLACK);
	GUI_DispStringAt("实时监测",0,0);
	GUI_SetColor(GUI_COLOR_WHITE);
	GUI_DispStringAt("数据曲线",0,13);
	GUI_DispStringAt("无线通信",0,26);
	GUI_DispStringAt("参数设置",0,39);
	GUI_DispStringAt("K1︽  K2《 K3》  K4︾",0,52);

	GUI_DrawHLine(52,0,128);
	GUI_DrawVLine(48,0,52);

	char buf[20];
	if(0 == pageidx)
	{
	GUI_DispStringAt("当前温度:",50,0);
	GUI_DispStringAt("震动报警:",50,26);
	sprintf(buf,"%.1f℃",temp);
	GUI_DispStringAt(buf,90,13);
	GUI_DispStringAt(mpuwarn ? "是" : "否",90,39);
	}
	else if(1 == pageidx)
	{
		sprintf(buf,"ax:%6d",ax);
		GUI_DispStringAt(buf,50,0);
		if(ax > 0)
		  GUI_FillRect(70,13,70+ax*55/32768,16);
		else if(ax < 0)
			GUI_FillRect(70,13,70-ax*55/32768,16);
		sprintf(buf,"ay:%6d",ay);
		GUI_DispStringAt(buf,50,17);
		if(ay > 0)
		  GUI_FillRect(70,30,70+ay*55/32768,33);
		else if(ay < 0)
			GUI_FillRect(70,30,70-ay*55/32768,33);
		sprintf(buf,"az:%6d",az);
		GUI_DispStringAt(buf,50,34);
				if(az > 0)
		  GUI_FillRect(70,47,70+az*55/32768,50);
		else if(az < 0)
			GUI_FillRect(70,47,70-az*55/32768,50);
	}
	else if(2 == pageidx)
	{
		sprintf(buf,"gx:%6d",gx);
		GUI_DispStringAt(buf,50,0);
		if(gx > 0)
		  GUI_FillRect(70,13,70+gx*55/32768,16);
		else if(gx < 0)
			GUI_FillRect(70,13,70-gx*55/32768,16);
		sprintf(buf,"gy:%6d",gy);
		GUI_DispStringAt(buf,50,17);
		if(gy > 0)
		  GUI_FillRect(70,30,70+gy*55/32768,33);
		else if(gy < 0)
			GUI_FillRect(70,30,70-gy*55/32768,33);
		sprintf(buf,"gz:%6d",gz);
		GUI_DispStringAt(buf,50,34);
				if(gz > 0)
		  GUI_FillRect(70,47,70+gz*55/32768,50);
		else if(gz < 0)
			GUI_FillRect(70,47,70-gz*55/32768,50);
	}
	GUI_Update();
}

void DrawGUI2(void)//数据曲线界面
{
	char str[30];

	GUI_Clear();
	GUI_SetFont(&GUI_FontHZ_SimSun_12);
	GUI_DispStringAt("实时监测",0,0);
	GUI_SetColor(GUI_COLOR_BLACK);
	GUI_DispStringAt("数据曲线",0,13);
	GUI_SetColor(GUI_COLOR_WHITE);
	GUI_DispStringAt("无线通信",0,26);
	GUI_DispStringAt("参数设置",0,39);
	GUI_DispStringAt("K1︽  K2《 K3》  K4︾",0,52);

	GUI_DrawHLine(52,0,128);
	GUI_DrawVLine(48,0,52);

	uint8_t i;

	int sw = 128-48;
	int sh = 64-12-12;
	int ox = 48;
	int oy = 12 + sh;
	switch(g_line_idx)
	{
		case LINE_FAY:
			sprintf(str,"俯仰角：%.1f",fAY);
		  for(i = 0; i< MAX_DATA_LEN - 1; ++i)
		  {
				GUI_DrawLine(51 + i, g_fay_data[i],51 + i +1,g_fay_data[i+1]);
		  }
			break;
		case LINE_FAZ:
			sprintf(str,"航向角：%.1f",fAZ);
		  for(i = 0; i< MAX_DATA_LEN - 1; ++i)
		  {
				GUI_DrawLine(51 + i, g_faz_data[i],51 + i +1,g_faz_data[i+1]);
		  }
			break;
		case LINE_TEMP:
			sprintf(str,"温度：%.1f",temp);
		  for(i = 0; i< MAX_DATA_LEN - 1; ++i)
		  {
				GUI_DrawLine(51 + i, g_temp_data[i],51 + i +1,g_temp_data[i+1]);
		  }
      for(i = 0;i<(MAX_DATA_LEN-1)/2;++i)
			{
				GUI_DrawPixel(51+i*2,((35-tempLmt) * 40 / 10 + 12));
			}
			break;
		case LINE_3D:
			ox = (48 + 128) / 2;
		  oy = (12 + 40) / 2 + 2;
		  RateCube(fAY,fAX,fAZ,GUI_COLOR_WHITE,ox,oy);
			break;
		default:
			sprintf(str,"横滚角：%.1f",fAX);
		  for(i = 0; i< MAX_DATA_LEN - 1; ++i)
		  {
				GUI_DrawLine(51 + i, g_fax_data[i],51 + i +1,g_fax_data[i+1]);
		  }
			break;
	}
	GUI_DispStringAt(str,51,0);

	GUI_Update();
}

void DrawGUI3(void)//无线通信界面
{
	char buf[30];

	GUI_Clear();
	GUI_SetFont(&GUI_FontHZ_SimSun_12);
	GUI_DispStringAt("实时监测",0,0);
	GUI_DispStringAt("数据曲线",0,13);
	GUI_SetColor(GUI_COLOR_BLACK);
	GUI_DispStringAt("无线通信",0,26);
	GUI_SetColor(GUI_COLOR_WHITE);
	GUI_DispStringAt("参数设置",0,39);
	GUI_DispStringAt("K1︽  K2《 K3》  K4︾",0,52);

	GUI_DispStringAt((char*)(esp8266.ssid),50,0);
	GUI_DispStringAt(TCP_SERVER,50,12);
	sprintf(buf,"端口：%d",TCP_PORT);
	GUI_DispStringAt(buf,50,24);
	GUI_DispStringAt(esp8266.bconn ? "OK":"ERR",50,36);
	GUI_DispStringAt(g_bUping ? "上传中":"未上传",80,36);

	GUI_DrawHLine(52,0,128);
	GUI_DrawVLine(48,0,52);

	GUI_Update();
}

void DrawGUI4(void)//参数设置界面
{
	char buf[20];

	GUI_Clear();
	GUI_SetFont(&GUI_FontHZ_SimSun_12);
	GUI_DispStringAt("实时监测",0,0);
	GUI_DispStringAt("数据曲线",0,13);
	GUI_DispStringAt("无线通信",0,26);
	GUI_SetColor(GUI_COLOR_BLACK);
	GUI_DispStringAt("参数设置",0,39);
	GUI_SetColor(GUI_COLOR_WHITE);
	GUI_DispStringAt("K1︽  K2《 K3》  K4︾",0,52);

	GUI_DrawHLine(52,0,128);
	GUI_DrawVLine(48,0,52);

	GUI_DispStringAt("温度上限:",50,0);
	GUI_DispStringAt("震动灵敏度:",50,13);
	GUI_DispStringAt("报警时长:",50,26);
	GUI_DispStringAt("上传间隔:",50,39);

	sprintf(buf,"%.0f℃",tempLmt);
	if(0 == g_paridx)
		GUI_SetColor(GUI_COLOR_BLACK);
	GUI_DispStringAt(buf,104,0);
	GUI_SetColor(GUI_COLOR_WHITE);

	sprintf(buf,"%d",g_mpustep);
	if(1 == g_paridx)
		GUI_SetColor(GUI_COLOR_BLACK);
	GUI_DispStringAt(buf,116,13);
	GUI_SetColor(GUI_COLOR_WHITE);

	sprintf(buf,"%dS",g_warntime);
	if(2 == g_paridx)
		GUI_SetColor(GUI_COLOR_BLACK);
	GUI_DispStringAt(buf,104,26);
	GUI_SetColor(GUI_COLOR_WHITE);

	sprintf(buf,"%.1fS",g_upstep / 1000.0f);
	if(3 == g_paridx)
		GUI_SetColor(GUI_COLOR_BLACK);
	GUI_DispStringAt(buf,104,39);
	GUI_SetColor(GUI_COLOR_WHITE);

	GUI_Update();
}
//gui.h中查询led函数

void Beep(int time,int tune)
{
	static uint16_t TAB[] = {494,523,588,660,698,784,880,988};
	HAL_TIM_Base_Start(&htim3);//tim.c

	if(tune >= 1 && tune <= 7)//7个音阶
	{
		int pre = 1000000 / TAB[tune];
		__HAL_TIM_SET_AUTORELOAD(&htim3,pre);//预装载
		__HAL_TIM_SET_COMPARE(&htim3,TIM_CHANNEL_1,pre/2);//占空比，超过一半翻转

		beeptick = osKernelGetTickCount() + time;
		HAL_TIM_PWM_Start(&htim3,TIM_CHANNEL_1);
	}
}

void BeepDone(void)//鸣叫时间
{
	if(beeptick >0 && osKernelGetTickCount() >= beeptick)
	{
		beeptick = 0;
		HAL_TIM_PWM_Stop(&htim3,TIM_CHANNEL_1);//停止
	}
}

void DispSeg(uint8_t num[4],uint8_t dot) //dot 小数点
{
	 for(int i=0;i<4;++i)
	{
		Write595(i,num[i],(dot == (i+1)) ? 1: 0);
		osDelay(1);
	}
}

int KeyWatch(void) //监测4个按键是否都按下
{
	int keyw1,keyw2,keyw3,keyw4,keycnt;
	keyw1 = keyw2 = keyw3 = keyw4 = keycnt = 0;
	if(HAL_GPIO_ReadPin(K1_GPIO_Port, K1_Pin) == GPIO_PIN_RESET)
		keyw1 = 1;
	else
		keyw1 = 0;
	if(HAL_GPIO_ReadPin(K2_GPIO_Port, K2_Pin) == GPIO_PIN_RESET)
		keyw2 = 1;
	else
		keyw2 = 0;
	if(HAL_GPIO_ReadPin(K3_GPIO_Port, K3_Pin) == GPIO_PIN_RESET)
		keyw3 = 1;
	else
		keyw3 = 0;
	if(HAL_GPIO_ReadPin(K4_GPIO_Port, K4_Pin) == GPIO_PIN_RESET)
		keyw4 = 1;
	else
		keyw4 = 0;
	keycnt = keyw1+keyw2+keyw3+keyw4;
	if(keycnt == 4)
	{
		return 1;
	}
	else
		return 0;
}

void InitESP8266(void)
{
	ESP_SetCIPMode(0);
	if(ESP_IsOK())
	{
		ESP_SetMode(3);
		ESP_GetSSID();

		if(ESP_JoinAP(AP_NAME,AP_PSW))
		{
			ESP_GetIPAddr();
			ESP_SetTCPServer(0,0);
			ESP_SetCIPMux(0);
			printf("Station ip :%s\n",esp8266.st_addr);

			if(ESP_ClientToServer(TCP_SERVER,TCP_PORT))
			{
				ESP_SetCIPMode(1);
				printf("ESP init OK\n");
			}
		}
	}
}

void SaveTempLmt(uint32_t addr,float saveval)
{
	W25QXX_Write((uint8_t *)(&saveval),addr,sizeof(saveval));
}
void SaveMpuStep(uint32_t addr,uint8_t saveval)
{
	W25QXX_Write((uint8_t *)(&saveval),addr,sizeof(saveval));
}
void SaveWarnTime(uint32_t addr,uint8_t saveval)
{
	W25QXX_Write((uint8_t *)(&saveval),addr,sizeof(saveval));
}
void SaveUpStep(uint32_t addr,uint16_t saveval)
{
	W25QXX_Write((uint8_t *)(&saveval),addr,sizeof(saveval));
}
float LoadTempLmt(uint32_t addr)
{
	float val = 0;
	W25QXX_Read((uint8_t *)(&val),addr,sizeof(val));
	return val;
}
uint8_t LoadMpuStep(uint32_t addr)
{
	uint8_t val = 0;
	W25QXX_Read((uint8_t *)(&val),addr,sizeof(val));
	return val;
}
uint8_t LoadWarnTime(uint32_t addr)
{
	uint8_t val = 0;
	W25QXX_Read((uint8_t *)(&val),addr,sizeof(val));
	return val;
}
uint16_t LoadUpStep(uint32_t addr)
{
	uint16_t val = 0;
	W25QXX_Read((uint8_t *)(&val),addr,sizeof(val));
	return val;
}
/* USER CODE END Application */

/************************ (C) COPYRIGHT STMicroelectronics *****END OF FILE****/
